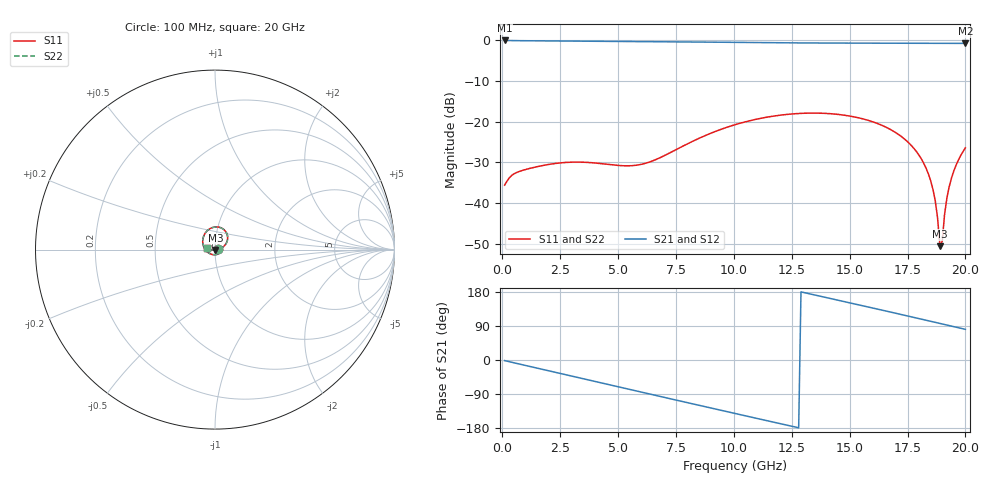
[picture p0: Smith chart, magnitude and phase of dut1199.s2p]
! Touchstone file exported from HFSS 2026.1.0
!  File:  C:/ffzhzh/LocalFiles/Ansys_Project_Files/temp_train_TSV_RDL_1199_1783317991_5512.aedt
!  Generated:  02:13:49 PM Jul  6, 2026
!  Design:  TSV_RDL
!  Project:  temp_train_TSV_RDL_1199_1783317991_5512
! Variables:
!  h_bsmrdl = 3.93um
!  h_ox = 20um
!  h_rdl = 5um
!  h_sub = 98.96um
!  h_tmrdl = 3.77um
!  h_tsv = 98.96um
!  h_via = 3um
!  l_bsmrdl = 782.33um
!  l_sub = 3864.57um
!  l_tmrdl = 249.05um
!  m_sub = 200um
!  pitch = 33.78um
!  r_tsv = 14.95um
!  s_tmrdl = 10um
!  w_bsmrdl = 27.15um
!  w_sub = 500um
!  w_tmrdl = 13.31um
!  x_tsv_center1 = 255.705um
!  x_tsv_center2 = 1065.185um
!  x_tsv_center3 = 1327.545um
!  x_tsv_center4 = 2137.025um
!  x_tsv_center5 = 2399.385um
!  x_tsv_center6 = 3208.865um
# GHz S MA R 50.000000
! Terminal data exported
! Port[1] = TM_RDL1_1_T1
! Port[2] = TM_RDL5_1_T1
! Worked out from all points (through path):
!   200 points, 100 MHz to 20 GHz, reference 50 ohm
!   highest |S21| = -0.14 dB at 100 MHz (marker M1); lowest = -0.9 dB at 20 GHz (marker M2)
!   group delay of S21, straight-line fit = 38.6 ps
!   lowest |S11| = -50.5 dB at 18.9 GHz (marker M3), VSWR 1.01, Z = 50.2 - j0.22 ohm
!   |S11| at or under -10 dB: start of sweep to end of sweep
!   |S22| runs from -49.7 to -17.9 dB; largest |S21 - S12| = 4.3e-14
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0.1  0.01663 9.1  0.9837 -1.6  0.9837 -1.6  0.01663 9.1
! Gamma 0 0 0 0
! Port Impedance 50 0 50 0
0.4  0.02178 13.9  0.9795 -5.9  0.9795 -5.9  0.02178 13.9
0.9  0.02536 10.1  0.9766 -13.0  0.9766 -13.0  0.02536 10.1
3.5  0.03176 -23.4  0.967 -49.7  0.967 -49.7  0.03174 -23.4
5.6  0.02881 -89.7  0.9577 -79.1  0.9577 -79.1  0.02875 -89.7
6.8  0.03592 -140.0  0.9517 -95.9  0.9517 -95.9  0.03586 -140.1
8.4  0.06051 171.2  0.9425 -118.2  0.9425 -118.2  0.06048 171.1
10.1  0.0923 136.0  0.932 -141.8  0.932 -141.8  0.09228 135.9
11.8  0.1175 107.3  0.9223 -165.2  0.9223 -165.2  0.1175 107.2
13.4  0.1269 82.8  0.9157 172.9  0.9157 172.9  0.1269 82.7
15  0.1168 59.3  0.9125 151.0  0.9125 151.0  0.1168 59.1
16.7  0.0817 34.5  0.9119 127.5  0.9119 127.5  0.08174 34.2
17.7  0.04962 19.1  0.9116 113.5  0.9116 113.5  0.04967 18.7
18.3  0.02688 8.3  0.9109 105.0  0.9109 105.0  0.02694 7.5
18.7  0.01061 -5.2  0.9102 99.3  0.9102 99.3  0.01073 -7.1
18.8  0.006548 -14.9  0.91 97.9  0.91 97.9  0.006718 -17.7
18.9  0.002976 -47.4  0.9097 96.5  0.9097 96.5  0.003287 -50.8
19  0.003432 -133.5  0.9094 95.1  0.9094 95.1  0.003662 -129.1
19.1  0.007263 -159.3  0.9091 93.7  0.9091 93.7  0.007353 -156.6
19.3  0.0159 -172.5  0.9085 90.8  0.9085 90.8  0.01592 -171.3
19.6  0.02933 179.3  0.9073 86.6  0.9073 86.6  0.02932 180.0
20  0.0476 171.9  0.9055 80.9  0.9055 80.9  0.04758 172.3
